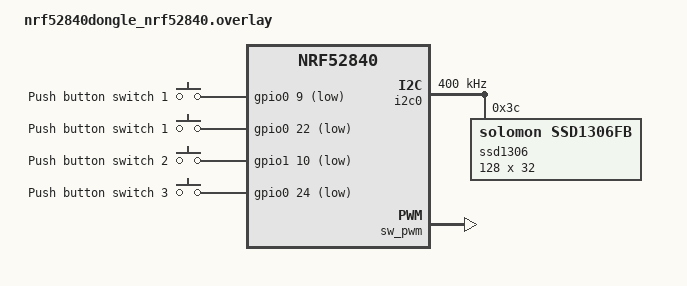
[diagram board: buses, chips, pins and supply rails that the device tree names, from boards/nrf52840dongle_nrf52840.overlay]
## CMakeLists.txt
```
#
# Copyright (c) 2018 Nordic Semiconductor
#
# SPDX-License-Identifier: LicenseRef-Nordic-5-Clause
#
cmake_minimum_required(VERSION 3.20.0)
find_package(Zephyr REQUIRED HINTS $ENV{ZEPHYR_BASE})
project(zephyr_ssd1306)

# NORDIC SDK APP START
target_sources(app PRIVATE
  src/main.c
  src/DCLK.c
  src/Interface.c
)

# NORDIC SDK APP END
zephyr_library_include_directories(.)
```

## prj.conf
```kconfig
#
# Copyright (c) 2018 Nordic Semiconductor
#
# SPDX-License-Identifier: LicenseRef-Nordic-5-Clause
#

#DISABLED

CONFIG_ADC=n
CONFIG_SPI=n
CONFIG_DEBUG=n

#DISPLAY




CONFIG_I2C=y
CONFIG_DISPLAY=y
CONFIG_SSD1306=y
CONFIG_SSD1306_DEFAULT=y
CONFIG_SSD1306_DEFAULT_CONTRAST=128
CONFIG_CHARACTER_FRAMEBUFFER=y
CONFIG_HEAP_MEM_POOL_SIZE=2048


#MEMORY
# CONFIG_SIZE_OPTIMIZATIONS=y
# CONFIG_BT_HCI=n

#CONFIG_MAIN_STACK_SIZE=1024
# CONFIG_ISR_STACK_SIZE=1024

#BLUETOOTH Reduction
# CONFIG_BT_PHY_UPDATE=n
# CONFIG_BT_GATT_SERVICE_CHANGED=n


# CONFIG_BT_RX_STACK_SIZE=1024
CONFIG_SYSTEM_WORKQUEUE_STACK_SIZE=2048
# CONFIG_BT_HCI_TX_STACK_SIZE=1024
# CONFIG_MPSL_WORK_STACK_SIZE=512



# Logger module
CONFIG_LOG=n

# BUTTONS and GPIO
CONFIG_GPIO=y

CONFIG_PWM=y
CONFIG_PWM_LOG_LEVEL_DBG=n


# Bluetooth LE
CONFIG_BT=y
CONFIG_BT_PERIPHERAL=y
CONFIG_BT_DEVICE_NAME="DCLK_Controller_1"

CONFIG_BT_SETTINGS_CCC_LAZY_LOADING=y
CONFIG_BT_CTLR_ADV_EXT=y
CONFIG_BT_EXT_ADV=y

CONFIG_BT_SMP=y
CONFIG_BT_SIGNING=y
CONFIG_BT_BONDABLE=y

#CONFIG_BT_FIXED_PASSKEY=y

#Enable access to flash
CONFIG_BT_SETTINGS=y
CONFIG_FLASH=y
CONFIG_FLASH_PAGE_LAYOUT=y
CONFIG_FLASH_MAP=y
CONFIG_NVS=y
CONFIG_SETTINGS=y

#Enable support for Accept List filter and Privacy Features
CONFIG_BT_FILTER_ACCEPT_LIST=y
CONFIG_BT_PRIVACY=y

# Increase the number of maximum paired devices
CONFIG_BT_MAX_PAIRED=5

#POWER
CONFIG_PM_DEVICE=y
CONFIG_CRC=y
CONFIG_POWEROFF=y
```

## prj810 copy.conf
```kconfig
#
# Copyright (c) 2018 Nordic Semiconductor
#
# SPDX-License-Identifier: LicenseRef-Nordic-5-Clause
#
CONFIG_CLOCK_CONTROL_NRF_K32SRC_RC=y
# Logger module
#CONFIG_LOG=n

# Button and LED library
#CONFIG_GPIO=y

# Bluetooth LE
#CONFIG_BT=y
#CONFIG_BT_PERIPHERAL=y
#CONFIG_BT_DEVICE_NAME="DCLK_Controller_1"

# CONFIG_BT_DEBUG_LOG=y
# CONFIG_BT_SMP=y
# CONFIG_BT_SIGNING=y
# CONFIG_BT_BONDABLE=y

#CONFIG_BT_FIXED_PASSKEY=y

#Enable access to flash
# CONFIG_BT_SETTINGS=y
# CONFIG_FLASH=y
# CONFIG_FLASH_PAGE_LAYOUT=y
# CONFIG_FLASH_MAP=y
# CONFIG_NVS=y
# CONFIG_SETTINGS=y

# #Enable support for Accept List filter and Privacy Features
# CONFIG_BT_FILTER_ACCEPT_LIST=y
# CONFIG_BT_PRIVACY=y

# # Increase the number of maximum paired devices
# CONFIG_BT_MAX_PAIRED=5


# # Increase stack size for the main thread and System Workqueue
# CONFIG_SYSTEM_WORKQUEUE_STACK_SIZE=2048
# CONFIG_MAIN_STACK_SIZE=2048
```

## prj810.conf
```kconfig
#
# Copyright (c) 2018 Nordic Semiconductor
#
# SPDX-License-Identifier: LicenseRef-Nordic-5-Clause
#

#CLOCK
CONFIG_CLOCK_CONTROL_NRF_K32SRC_RC=y


#DISABLED
CONFIG_I2C=n
CONFIG_ADC=n
CONFIG_SPI=y
CONFIG_DEBUG=n

#MEMORY
CONFIG_SIZE_OPTIMIZATIONS=y
CONFIG_BT_HCI=n

#CONFIG_MAIN_STACK_SIZE=1024
CONFIG_ISR_STACK_SIZE=1024

#BLUETOOTH Reduction
CONFIG_BT_PHY_UPDATE=n
CONFIG_BT_GATT_SERVICE_CHANGED=n


CONFIG_BT_RX_STACK_SIZE=1024
CONFIG_SYSTEM_WORKQUEUE_STACK_SIZE=1024
CONFIG_BT_HCI_TX_STACK_SIZE=1024
CONFIG_MPSL_WORK_STACK_SIZE=512



# Logger module
CONFIG_LOG=n

# Button and LED library
CONFIG_GPIO=y

# Bluetooth LE
CONFIG_BT=y
CONFIG_BT_PERIPHERAL=y
CONFIG_BT_DEVICE_NAME="DCLK_Controller_1"

CONFIG_BT_SETTINGS_CCC_LAZY_LOADING=y
CONFIG_BT_CTLR_ADV_EXT=y
CONFIG_BT_EXT_ADV=y

CONFIG_BT_SMP=y
CONFIG_BT_SIGNING=y
CONFIG_BT_BONDABLE=y

#CONFIG_BT_FIXED_PASSKEY=y

#Enable access to flash
CONFIG_BT_SETTINGS=y
#CONFIG_FLASH=y
#CONFIG_FLASH_PAGE_LAYOUT=y
#CONFIG_FLASH_MAP=y
CONFIG_NVS=y
CONFIG_SETTINGS=y

#Enable support for Accept List filter and Privacy Features
CONFIG_BT_FILTER_ACCEPT_LIST=y
CONFIG_BT_PRIVACY=y

# Increase the number of maximum paired devices
CONFIG_BT_MAX_PAIRED=2
```

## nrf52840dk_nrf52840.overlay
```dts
// To get started, press Ctrl+Space to bring up the completion menu and view the available nodes.

// You can also use the buttons in the sidebar to perform actions on nodes.
// Actions currently available include:

// * Enabling / disabling the node
// * Adding the bus to a bus
// * Removing the node
// * Connecting ADC channels

// For more help, browse the DeviceTree documentation at https: //docs.zephyrproject.org/latest/guides/dts/index.html
// You can also visit the nRF DeviceTree extension documentation at https: //nrfconnect.github.io/vscode-nrf-connect/devicetree/nrfdevicetree.html

&pinctrl {

	i2c0_default: i2c0_default {
		group1 {
			psels = <NRF_PSEL(TWIM_SDA, 0, 4)>,
					<NRF_PSEL(TWIM_SCL, 0, 3)>;
		};
	};

	i2c0_sleep: i2c0_sleep {
		group1 {
			psels = <NRF_PSEL(TWIM_SDA, 0, 4)>,
					<NRF_PSEL(TWIM_SCL, 0, 3)>;
			low-power-enable;
		};
	};
};


&i2c0 {
	compatible = "nordic,nrf-twim";
	status = "okay";
	clock-frequency = <I2C_BITRATE_FAST>;
	zephyr,concat-buf-size = <4096>;

	ssd1306: ssd1306@3c {
		compatible = "solomon,ssd1306fb";
		reg = <0x3c>; //0x3c is the i2c address of the SSD1306 aIC.
		width = <128>;
		height = <32>; // Change to '64' when using the 128x64 pixel version.
		segment-offset = <0>;
		page-offset = <0>;
		display-offset = <0>;
		multiplex-ratio = <31>; //change to '63' when using the 128x64 pixel version
		segment-remap;
		com-invdir;
		com-sequential;
		prechargep = <0x22>;
	};
};


&gpio0 {
	wakeup-source;
};

&pwm0 {
	status = "disabled";
};

&sw_pwm {
	status = "okay";
	channel-gpios = <&gpio0 2 PWM_POLARITY_INVERTED>;
};

&pwm_led0 {
	pwms = <&sw_pwm 0 PWM_MSEC(20) PWM_POLARITY_INVERTED>;
};
```

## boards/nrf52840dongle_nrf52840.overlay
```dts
/*
 * Copyright (c) 2021 Nordic Semiconductor ASA
 *
 * SPDX-License-Identifier: LicenseRef-Nordic-5-Clause
 */

 &pinctrl {

	i2c0_default: i2c0_default {
		group1 {
			psels = <NRF_PSEL(TWIM_SDA, 0, 29)>,
					<NRF_PSEL(TWIM_SCL, 0, 31)>;
		};
	};

	i2c0_sleep: i2c0_sleep {
		group1 {
			psels = <NRF_PSEL(TWIM_SDA, 0, 29)>,
					<NRF_PSEL(TWIM_SCL, 0, 31)>;
			low-power-enable;
		};
	};
};


&i2c0 {
	compatible = "nordic,nrf-twim";
	status = "okay";
	clock-frequency = <I2C_BITRATE_FAST>;
	zephyr,concat-buf-size = <4096>;

	ssd1306: ssd1306@3c {
		compatible = "solomon,ssd1306fb";
		reg = <0x3c>; //0x3c is the i2c address of the SSD1306 aIC.
		width = <128>;
		height = <32>; // Change to '64' when using the 128x64 pixel version.
		segment-offset = <0>;
		page-offset = <0>;
		display-offset = <0>;
		multiplex-ratio = <31>; //change to '63' when using the 128x64 pixel version
		segment-remap;
		com-invdir;
		com-sequential;
		prechargep = <0x22>;
	};
};

// &gpio0 {
// 	wakeup-source;
// };
&uart0 {
	status = "disabled";
};



/{
	buttons {
		compatible = "gpio-keys";
		button0: button_0 {
			gpios = <&gpio0 9 (GPIO_PULL_UP | GPIO_ACTIVE_LOW)>;
			label = "Push button switch 1";
		};

		button1: button_1 {
			gpios = <&gpio0 22 (GPIO_PULL_UP | GPIO_ACTIVE_LOW)>;
			label = "Push button switch 1";
		};
		button2: button_2 {
			gpios = <&gpio1 10 (GPIO_PULL_UP | GPIO_ACTIVE_LOW)>;
			label = "Push button switch 2";
		};
		button3: button_3 {
			gpios = <&gpio0 24 (GPIO_PULL_UP | GPIO_ACTIVE_LOW)>;
			label = "Push button switch 3";
		};
	};
};



&pwm0 {
	status = "disabled";
};

&sw_pwm {
	status = "okay";
	channel-gpios = <&gpio1 13 PWM_POLARITY_NORMAL>;
};

&red_pwm_led {
	pwms = <&sw_pwm 0 PWM_MSEC(20) PWM_POLARITY_NORMAL>;
};
```

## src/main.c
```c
/*
 * Copyright (c) 2023 Nordic Semiconductor ASA
 *
 * SPDX-License-Identifier: LicenseRef-Nordic-5-Clause
 */

#include <zephyr/kernel.h>
#include <zephyr/logging/log.h>
#include <zephyr/bluetooth/bluetooth.h>
#include <zephyr/bluetooth/gap.h>
#include <zephyr/bluetooth/uuid.h>
#include <zephyr/bluetooth/conn.h>

#include <zephyr/drivers/gpio.h>

#include <zephyr/device.h>
#include <zephyr/devicetree.h>

#include <zephyr/settings/settings.h>

//#include <zephyr/sys/poweroff.h>
#include <zephyr/sys/util.h>

#include "DCLK.h"
#include "Interface.h"

#include <soc.h>
#include <hal/nrf_gpio.h>

LOG_MODULE_REGISTER(Controller_app, LOG_LEVEL_INF);

#define STACKSIZE 512
#define PRIORITY 7

#define GO_SLEEP_SHORT 10000
#define GO_SLEEP_LONG 30000
#define CLOCK_RESET_VALUE 10000

#define SYNC_INTERVAL 500

static void poweroff(void);
K_TIMER_DEFINE(sleep_timer, poweroff, NULL);
/*


*/
/*SHOT CLOCK*/
struct k_timer d_timer;
static uint8_t clock_state = 0; // shot clock state
static uint32_t clock_value = 0;

// Helper QUEUES

/*


*/

/*DCLK CALLBACKS*/
static uint32_t DCLK_clock_cb(void)
{
	// d_clock = k_timer_remaining_get(&d_timer);
	return k_timer_remaining_get(&d_timer);
	;
}

static uint8_t DCKL_state_cb(void)
{
	return clock_state;
}

static struct dclk_cb DCLK_callbacks = {
	.clock_cb = DCLK_clock_cb,
	.state_cb = DCKL_state_cb,
};

/*


*/
/*Button Callbacks*/
static uint8_t pair_cb(uint8_t evt)
{
	if (1 == evt)
	{
		LOG_INF("pairing : %d", evt);
		dclk_pairing(true);
	}
	else if (0 == evt)
	{
		LOG_INF("stop pairing : %d", evt);
		dclk_pairing(false);
	}
	k_timer_stop(&sleep_timer);

	return 0;
}
static uint8_t user_cb(uint8_t evt)
{
	LOG_INF("user : %d", evt);
	return 0;
}

static uint8_t start_cb(uint8_t evt)
{
	LOG_INF("start : %d", evt);

	if (1 == evt)
	{
		clock_state = 0;

		k_timer_start(&d_timer, K_MSEC(CLOCK_RESET_VALUE), K_NO_WAIT);
	}

	k_timer_stop(&sleep_timer);

	return 0;
}

static uint8_t stop_cb(uint8_t evt)
{
	LOG_INF("stop : %d", clock_value);
	if (1 == evt)
	{
		clock_value = k_timer_remaining_get(&d_timer);
		k_timer_stop(&d_timer);
		clock_state = 1;
	}

	return 0;
}

static struct interface_cb interface_callbacks =
	{
		.pair = pair_cb,
		.user = user_cb,
		.start = start_cb,
		.stop = stop_cb,
};

static void d_clock_expire(struct k_timer *timer_id)
{
	clock_state = 2;
	k_timer_start(&sleep_timer, K_MSEC(GO_SLEEP_SHORT), K_NO_WAIT);

}

/** @brief Runs the shot clock, notifies DCLK, and updates display */
void dclk_app(void)
{

	uint32_t d_clock = 0;
	uint8_t d_state = 0;
	dclk_info conn_status;
	char dis_status;

	k_timer_init(&d_timer, d_clock_expire, NULL);

	while (1)
	{

		d_state = clock_state;

		if (1 != d_state)
		{
			d_clock = ROUND_UP(k_timer_remaining_get(&d_timer), 1000) / 1000;
		}
		else
		{
			d_clock = ROUND_UP(clock_value, 1000) / 1000;
		}
		dclk_get_status(&conn_status);

		if (conn_status.pair_en)
		{
			dis_status = 'P';
		}
		else
		{
			sprintf(&dis_status, "%d", conn_status.num_conn);
		}

		dclk_send_clock_notify(&d_clock);
		dclk_send_state_notify(&d_state);

		interface_update(&d_clock, &d_state, &dis_status);

		k_sleep(K_MSEC(SYNC_INTERVAL));
	}
	return;
}

void power_manage_init(void)
{
	nrf_gpio_cfg_input(NRF_DT_GPIOS_TO_PSEL(DT_NODELABEL(button2), gpios),
					   NRF_GPIO_PIN_PULLUP);
	nrf_gpio_cfg_sense_set(NRF_DT_GPIOS_TO_PSEL(DT_NODELABEL(button2), gpios),
						   NRF_GPIO_PIN_SENSE_LOW);
}
int main(void)
{
	int err;

	LOG_INF("Starting DCLK Controller \n");

	err = interface_init(&interface_callbacks);
	if (err)
	{
		LOG_ERR("Interface init failed (err %d)\n", err);
		return 0;
	}

	err = dclk_init(&DCLK_callbacks);
	if (err)
	{
		LOG_ERR("Failed to init LBS (err:%d)\n", err);
		return 0;
	}

	LOG_INF("Initialized \n");

	power_manage_init();
	k_timer_start(&sleep_timer,K_MSEC(GO_SLEEP_LONG),K_NO_WAIT);

	while (1)
	{
		k_sleep(K_FOREVER);
	}
	return 1;
}

// Start app thread
K_THREAD_DEFINE(app, 1024, dclk_app, NULL, NULL, NULL, 5, 0, 0);

void poweroff(void)
{
	LOG_INF("SLEEP TIMER EXPIRED");
	// k_thread_suspend(&app);
	LOG_INF("POWER OFF");
	interface_off();

	//sys_poweroff();
}
```

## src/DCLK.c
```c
/*Matthew Ebert
 *02-JAN-2024
 *
 */

/** @file DCLK.c
 *  @brief DCLK host Bluetooth Service
 */

#include <zephyr/types.h>
#include <stddef.h>
#include <string.h>
#include <errno.h>

#include <zephyr/sys/byteorder.h>
//#include <zephyr/kernel.h>

#include <zephyr/bluetooth/bluetooth.h>
//#include <zephyr/bluetooth/hci.h>
#include <zephyr/bluetooth/conn.h>
#include <zephyr/bluetooth/uuid.h>
#include <zephyr/bluetooth/gatt.h>
#include <zephyr/settings/settings.h>

#include "DCLK.h"

#define DLCK_LOG 1

#ifdef DLCK_LOG
#include <zephyr/sys/printk.h>
#include <zephyr/logging/log.h>
LOG_MODULE_DECLARE(Controller_app, LOG_LEVEL_ERR);
#endif

static bool notify_state_enabled;
static bool notify_clock_enabled;
static uint8_t state;
static uint32_t clock;
static struct dclk_cb dclk_cb;

static unsigned int passkey;

#define DEVICE_NAME CONFIG_BT_DEVICE_NAME
#define DEVICE_NAME_LEN (sizeof(DEVICE_NAME) - 1)

//| BT_LE_ADV_OPT_ONE_TIME,
#define BT_LE_ADV_CONN_NO_ACCEPT_LIST          \
	BT_LE_ADV_PARAM(BT_LE_ADV_OPT_CONNECTABLE, \
					BT_GAP_ADV_FAST_INT_MIN_2, BT_GAP_ADV_FAST_INT_MAX_2, NULL)

#define BT_LE_ADV_CONN_ACCEPT_LIST                                         \
	BT_LE_ADV_PARAM(BT_LE_ADV_OPT_CONNECTABLE | BT_LE_ADV_OPT_FILTER_CONN, \
					BT_GAP_ADV_FAST_INT_MIN_2, BT_GAP_ADV_FAST_INT_MAX_2, NULL)

static const struct bt_data ad[] = {
	BT_DATA_BYTES(BT_DATA_FLAGS, (BT_LE_AD_GENERAL | BT_LE_AD_NO_BREDR)),
	BT_DATA(BT_DATA_NAME_COMPLETE, DEVICE_NAME, DEVICE_NAME_LEN),

};

static const struct bt_data sd[] = {
	BT_DATA_BYTES(BT_DATA_UUID128_ALL, BT_UUID_DCLK_VAL),
};

static void setup_accept_list_cb(const struct bt_bond_info *info, void *user_data)
{
	int *bond_cnt = user_data;

	if ((*bond_cnt) < 0)
	{
		return;
	}

	int err = bt_le_filter_accept_list_add(&info->addr);
	LOG_INF("Added following peer to accept list: %x %x\n", info->addr.a.val[0],
			info->addr.a.val[1]);
	if (err)
	{
		LOG_ERR("Cannot add peer to filter accept list (err: %d)\n", err);
		(*bond_cnt) = -EIO;
	}
	else
	{
		(*bond_cnt)++;
	}
}

static int setup_accept_list(uint8_t local_id)
{
	int err = bt_le_filter_accept_list_clear();

	if (err)
	{
		LOG_INF("Cannot clear BLE accept list (err: %d)\n", err);
		return err;
	}

	int bond_cnt = 0;

	bt_foreach_bond(local_id, setup_accept_list_cb, &bond_cnt);

	return bond_cnt;
}

void pair_DCLK(struct k_work *work)
{
	LOG_INF("Pairing Beginning--");
	int err = 0;

	bt_le_adv_stop();

	err = bt_unpair(BT_ID_DEFAULT, BT_ADDR_LE_ANY);
	if (err)
	{
		LOG_INF("Cannot delete bond (err: %d)\n", err);
	}
	else
	{
		LOG_INF("Bond deleted succesfully \n");
	}

	LOG_INF("Advertising with no Accept list \n");
	// One shot advertizing due to bt_adv_param settings
	// stops upon connection
	err = bt_le_adv_start(BT_LE_ADV_CONN_NO_ACCEPT_LIST, ad, ARRAY_SIZE(ad), sd,
						  ARRAY_SIZE(sd));

	if (err)
	{
		LOG_INF("Advertising failed to start (err %d)\n", err);
		return;
	}
}

void advertise_DCLK(struct k_work *work)
{
	int err = 0;
	int allowed_cnt = setup_accept_list(BT_ID_DEFAULT);
	LOG_DBG("bond_count = %d", allowed_cnt);
	if (allowed_cnt < 0)
	{
		LOG_INF("Acceptlist setup failed (err:%d)\n", allowed_cnt);
	}
	else if (allowed_cnt > 0)
	{
		LOG_INF("Acceptlist setup number  = %d \n", allowed_cnt);
		// One shot advertizing due to bt_adv_param settings
		// stops upon connection
		err = bt_le_adv_start(BT_LE_ADV_CONN_ACCEPT_LIST, ad, ARRAY_SIZE(ad), sd,
							  ARRAY_SIZE(sd));

		if (err)
		{
			LOG_INF("Advertising failed to start (err %d)\n", err);
			return;
		}
		LOG_INF("Advertising successfully started\n");
		return;
	}

	LOG_INF("No Bonds -- Please start pairing");
	return;
}

//K_WORK_DEFINE(advertise_DCLK_work, advertise_DCLK);
// K_WORK_DEFINE(pair_DCLK_work, pair_DCLK);

void start_advertising(void)
{
	// k_work_submit(&advertise_DCLK_work);
	advertise_DCLK(NULL);
}

void start_pairing(void)
{
	pair_DCLK(NULL);
	// k_work_submit(&pair_DCLK_work);
}

/*CONNECTION*/

static void on_connected(struct bt_conn *conn, uint8_t err)
{
	if (err)
	{
		LOG_INF("Connection failed (err %u)\n", err);
		start_advertising();
		return;
	}

	LOG_INF("Connected\n");

	// bt_conn_set_security(conn, BT_SECURITY_L4);
}

static void on_disconnected(struct bt_conn *conn, uint8_t reason)
{
	LOG_INF("Disconnected (reason %u)\n", reason);

	// advertize to try and reconnect
	start_advertising();
}

static void on_security_changed(struct bt_conn *conn, bt_security_t level, enum bt_security_err err)
{
	char addr[BT_ADDR_LE_STR_LEN];

	bt_addr_le_to_str(bt_conn_get_dst(conn), addr, sizeof(addr));

	if (!err)
	{
		LOG_INF("Security changed: %s level %u\n", addr, level);
	}
	else
	{
		LOG_INF("Security failed: %s level %u err %d\n", addr, level, err);
	}
}

struct bt_conn_cb connection_callbacks = {
	.connected = on_connected,
	.disconnected = on_disconnected,
	.security_changed = on_security_changed,
};
/*



*/
/*NOTIFICATION AND STATE*/
/* state configuration change callback function */
static void dclk_ccc_state_cfg_changed(const struct bt_gatt_attr *attr, uint16_t value)
{
	notify_state_enabled = (value == BT_GATT_CCC_NOTIFY);
}

/* clock configuration change callback function */
static void dclk_ccc_clock_cfg_changed(const struct bt_gatt_attr *attr, uint16_t value)
{
	notify_clock_enabled = (value == BT_GATT_CCC_NOTIFY);
}

static ssize_t read_state(struct bt_conn *conn, const struct bt_gatt_attr *attr, void *buf,
						  uint16_t len, uint16_t offset)
{
	// get a pointer to state which is passed in the BT_GATT_CHARACTERISTIC() and stored in attr->user_data
	const char *value = attr->user_data;

	LOG_DBG("Attribute read, handle: %u, conn: %p", attr->handle, (void *)conn);

	if (dclk_cb.state_cb)
	{
		// Call the application callback function to update the get the current value of the button
		state = dclk_cb.state_cb();
		return bt_gatt_attr_read(conn, attr, buf, len, offset, value, sizeof(*value));
	}

	return 0;
}

static ssize_t read_clock(struct bt_conn *conn, const struct bt_gatt_attr *attr, void *buf,
						  uint16_t len, uint16_t offset)
{
	// get a pointer to state which is passed in the BT_GATT_CHARACTERISTIC() and stored in attr->user_data
	const char *value = attr->user_data;

	LOG_DBG("Attribute read, handle: %u, conn: %p", attr->handle, (void *)conn);

	if (dclk_cb.clock_cb)
	{
		// Call the application callback function to update the get the current value of the button
		clock = dclk_cb.clock_cb();
		return bt_gatt_attr_read(conn, attr, buf, len, offset, value, sizeof(*value));
	}

	return 0;
}
/*



*/
/*AUTHENTICATION*/

static void auth_pairing(struct bt_conn *conn)
{
	char addr[BT_ADDR_LE_STR_LEN];
	bt_addr_le_to_str(bt_conn_get_dst(conn), addr, sizeof(addr));
	int err = bt_conn_auth_pairing_confirm(conn);
	LOG_INF("Pairing Authorized %d: %s\n", err, addr);
}

static void auth_cancel(struct bt_conn *conn)
{
	char addr[BT_ADDR_LE_STR_LEN];

	bt_addr_le_to_str(bt_conn_get_dst(conn), addr, sizeof(addr));

	LOG_INF("Pairing cancelled: %s\n", addr);
}

static void passkey_entry(struct bt_conn *conn)
{
	LOG_INF("Sending entry passkey = %d", passkey);
	bt_conn_auth_passkey_entry(conn, passkey);
}

void passkey_display(struct bt_conn *conn, unsigned int passkey)
{
	LOG_INF("Controller passkey = %d", passkey);
}

void passkey_confirm(struct bt_conn *conn, unsigned int passkey)
{
	LOG_INF("Confirm Passkey = %d", passkey);
	bt_conn_auth_passkey_confirm(conn);
}
static struct bt_conn_auth_cb auth_cb_display = {
	.passkey_display = passkey_display,
	.passkey_confirm = passkey_confirm,
	.passkey_entry = passkey_entry,
	.cancel = auth_cancel,
	.pairing_confirm = auth_pairing,
};

/*


*/
/*PAIRING*/
#ifdef DCLK_INFO
static void pairing_complete(struct bt_conn *conn, bool bonded)
{
	char addr[BT_ADDR_LE_STR_LEN];

	bt_addr_le_to_str(bt_conn_get_dst(conn), addr, sizeof(addr));

	LOG_INF("Pairing completed: %s, bonded: %d", addr, bonded);
}

static void pairing_failed(struct bt_conn *conn, enum bt_security_err reason)
{
	char addr[BT_ADDR_LE_STR_LEN];

	bt_addr_le_to_str(bt_conn_get_dst(conn), addr, sizeof(addr));

	LOG_WRN("Pairing failed conn: %s, reason %d", addr, reason);
}

static struct bt_conn_auth_info_cb conn_auth_info_callbacks = {
	.pairing_complete = pairing_complete,
	.pairing_failed = pairing_failed,
};
#endif
/*



*/
/* DCLK Service Declaration */
BT_GATT_SERVICE_DEFINE(
	dclk_svc, BT_GATT_PRIMARY_SERVICE(BT_UUID_DCLK),
	/*Button characteristic declaration */
	BT_GATT_CHARACTERISTIC(BT_UUID_DCLK_STATE, BT_GATT_CHRC_READ | BT_GATT_CHRC_NOTIFY,
						   BT_GATT_PERM_READ_AUTHEN, read_state, NULL, &state),
	/* Client Characteristic Configuration Descriptor */
	BT_GATT_CCC(dclk_ccc_state_cfg_changed, BT_GATT_PERM_READ_AUTHEN | BT_GATT_PERM_WRITE_AUTHEN),

	BT_GATT_CHARACTERISTIC(BT_UUID_DCLK_CLOCK, BT_GATT_CHRC_READ | BT_GATT_CHRC_NOTIFY,
						   BT_GATT_PERM_READ_AUTHEN, read_clock, NULL, &clock),

	BT_GATT_CCC(dclk_ccc_clock_cfg_changed, BT_GATT_PERM_READ_AUTHEN | BT_GATT_PERM_WRITE_AUTHEN),

);

/*


*/

/*API*/
int dclk_init(struct dclk_cb *callbacks)
{
	int err;

	bt_conn_cb_register(&connection_callbacks);
	if (callbacks)
	{
		dclk_cb.clock_cb = callbacks->clock_cb;
		dclk_cb.state_cb = callbacks->state_cb;
	}
	err = bt_enable(NULL);
	if (err)
	{
		LOG_ERR("Bluetooth enable failed (err %d)\n", err);
		return err;
	}

	err = bt_conn_auth_cb_register(&auth_cb_display);
	if (err)
	{
		LOG_ERR("Bluetooth authetication register failed (err %d)\n", err);
		return err;
	}
#ifdef DCLK_INFO
	err = bt_conn_auth_info_cb_register(&conn_auth_info_callbacks);
	if (err)
	{
		LOG_INF("Bluetooth info register failed (err %d)\n", err);
		return 0;
	}
#endif

	if (IS_ENABLED(CONFIG_SETTINGS))
	{
		err = settings_load();
		if (err)
		{
			LOG_ERR("Bluetooth load settings failed (err %d)\n", err);
			return err;
		}
		LOG_INF("BLE settings loaded \n");
	}

	// err = bt_le_adv_start(BT_LE_ADV_CONN, ad, ARRAY_SIZE(ad), sd,
	// 					  ARRAY_SIZE(sd));

	// if (err)
	// {
	// 	err = -1;
	// }
	start_advertising();
	

	return 0;
}

int dclk_pairing(void)
{
	start_pairing();
	return 0;
}

int dclk_send_state_notify(uint8_t *state)
{
	if (!notify_state_enabled)
	{
		return -EACCES;
	}

	return bt_gatt_notify(NULL, &dclk_svc.attrs[2], state, sizeof(state));
}

int dclk_send_clock_notify(uint32_t *clock)
{
	if (!notify_clock_enabled)
	{
		return -EACCES;
	}
	return bt_gatt_notify(NULL, &dclk_svc.attrs[5], clock, sizeof(clock));
}
```

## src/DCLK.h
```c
/*
 * Matthew Ebert
 *
 * 02-JAN-2024
 * 
 */

#ifndef BT_DCLK
#define BT_DCLK

/**@file
 * @defgroup DCLK.h DCLK service API
 * @{
 * @brief API for the DCLK BLE service
 */

#ifdef __cplusplus
extern "C"
{
#endif

#include <zephyr/types.h>

/** @brief DCLK Service UUID. */
#define BT_UUID_DCLK_VAL BT_UUID_128_ENCODE(0x00001553, 0x1212, 0xefde, 0x1523, 0x785feabcd123)

/** @brief State Characteristic UUID. */
#define BT_UUID_DCLK_STATE_VAL \
	BT_UUID_128_ENCODE(0x00001554, 0x1212, 0xefde, 0x1523, 0x785feabcd123)

/** @brief LED Characteristic UUID. */
#define BT_UUID_DCLK_LED_VAL BT_UUID_128_ENCODE(0x00001555, 0x1212, 0xefde, 0x1523, 0x785feabcd123)

/* STEP 11.1 - Assign a UUID to the MYSENSOR characteristic */
/** @brief Clock Characteristic UUID. */
#define BT_UUID_DCLK_CLOCK_VAL \
	BT_UUID_128_ENCODE(0x00001556, 0x1212, 0xefde, 0x1523, 0x785feabcd123)

#define BT_UUID_DCLK BT_UUID_DECLARE_128(BT_UUID_DCLK_VAL)
#define BT_UUID_DCLK_STATE BT_UUID_DECLARE_128(BT_UUID_DCLK_STATE_VAL)
#define BT_UUID_DCLK_LED BT_UUID_DECLARE_128(BT_UUID_DCLK_LED_VAL)
#define BT_UUID_DCLK_CLOCK BT_UUID_DECLARE_128(BT_UUID_DCLK_CLOCK_VAL)

	/** @brief Callback type for when an clock is read. */
	typedef uint32_t (*clock_cb_t)(void);

	/** @brief Callback type for when state is read. */
	typedef uint8_t (*state_cb_t)(void);

	/** @brief Callback struct used by DCLK Service. */
	struct dclk_cb
	{
		/** clock read callback. */
		clock_cb_t clock_cb;
		/** state read callback. */
		state_cb_t state_cb;
	};

	/** @brief Initialize the DCLK Service.
	 *
	 * This function registers application callback functions with the DCLK
	 * Service
	 *
	 * @param[in] callbacks Struct containing pointers to callback functions
	 *			used by the service. This pointer can be NULL
	 *			if no callback functions are defined.
	 *
	 *
	 * @retval 0 If the operation was successful.
	 *           Otherwise, a (negative) error code is returned.
	 */
	int dclk_init(struct dclk_cb *callbacks);

	/** @brief Enables/Disables advertizing and
	 * pairing of DCLK blueooth service
	 *
	 * This starts or stops advertizing immediately and
	 * sets the pairing state to enable
	 *
	 * @param[in] void 
	 *
	 * @retval 0 If the operation was successful.
	 *           Otherwise, a (negative) error code is returned.
	 */
	int dclk_pairing(void);

	/** @brief Send the clock state as notification.
	 *
	 * This function sends a uint8_t state. The state can be
	 * 0 - running
	 * 1 - paused
	 * 2 - stopped
	 *
	 * @param[in] state The state of the clock
	 *
	 * @retval 0 If the operation was successful.
	 *           Otherwise, a (negative) error code is returned.
	 */
	int dclk_send_state_notify(uint8_t *state);

	/** @brief Send the clock value as notification.
	 *
	 * This function sends an uint32_t  value indicating the
	 * time remaining on the shot clock
	 *
	 * @param[in] clock The value of the shot clock in ms
	 *
	 * @retval 0 If the operation was successful.
	 *           Otherwise, a (negative) error code is returned.
	 */
	int dclk_send_clock_notify(uint32_t *clock);

#ifdef __cplusplus
}
#endif

/**
 * @}
 */

#endif /* BT_LBS_H_ */
```

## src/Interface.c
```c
#include <zephyr/kernel.h>
#include <zephyr/logging/log.h>
#include <zephyr/bluetooth/bluetooth.h>
#include <zephyr/bluetooth/gap.h>
#include <zephyr/bluetooth/uuid.h>
#include <zephyr/bluetooth/conn.h>

#include <zephyr/drivers/gpio.h>

#include <zephyr/device.h>
#include <zephyr/devicetree.h>
#include <zephyr/settings/settings.h>

#include "Interface.h"

#include <stdint.h>
#include <zephyr/drivers/display.h>
#include <zephyr/display/cfb.h>

#include <zephyr/sys/printk.h>
#include <zephyr/logging/log.h>
#include <zephyr/drivers/pwm.h>

#include <stdio.h>
#include <stdlib.h>

LOG_MODULE_DECLARE(Controller_app, LOG_LEVEL_ERR);

#define DISPLAY_BUFFER_PITCH 128
static const struct device *display = DEVICE_DT_GET(DT_NODELABEL(ssd1306));

#define SW0_NODE DT_NODELABEL(button0)
#define SW1_NODE DT_NODELABEL(button1)
#define SW2_NODE DT_NODELABEL(button2)
#define SW3_NODE DT_NODELABEL(button3)

// PWM

#define MIN_PERIOD PWM_MSEC(2U) / 128U
#define MAX_PERIOD PWM_MSEC(2U)

static const struct pwm_dt_spec pwm_buzz = PWM_DT_SPEC_GET(DT_ALIAS(pwm_led0));

/*


*/
/* Button Event Handler */

void handle_button_event(struct k_work *work)
{
	LOG_DBG("handle_button_event");
	struct button_t *btn = CONTAINER_OF(work, struct button_t, btn_work);
	if (0 == btn->val)
	{
		btn->evt = 0;
	}
	else
	{
		btn->evt = 1;
	}

	btn->active_func_cb(btn->evt);
}

/*


*/
/*Callback Buttons*/

static void button_event_cb(const struct device *dev, struct gpio_callback *cb, uint32_t pins)
{
	LOG_DBG("button_event_cb");
	struct button_t *btn = CONTAINER_OF(cb, struct button_t, gpio_cb_data);
	btn->val = gpio_pin_get(btn->gpio_spec.port, btn->gpio_spec.pin);
	LOG_INF("Pin %d = %d", btn->gpio_spec.pin, btn->val);

	k_work_submit(&btn->btn_work);
}

static void pair_btn_cb(const struct device *dev, struct gpio_callback *cb, uint32_t pins)
{
}
static void user_btn_cb(const struct device *dev, struct gpio_callback *cb, uint32_t pins)
{
}
static void start_btn_cb(const struct device *dev, struct gpio_callback *cb, uint32_t pins)
{
}
static void stop_btn_cb(const struct device *dev, struct gpio_callback *cb, uint32_t pins)
{
}

/*Button Declarations*/

static struct button_t pair_btn =
	{
		.val = 1,
		.evt = 0,
		.gpio_spec = GPIO_DT_SPEC_GET(SW0_NODE, gpios),
		.gpio_cb_handler = button_event_cb,
		.gpio_flags = GPIO_ACTIVE_LOW,

		.btn_work_handler = handle_button_event,
};
static struct button_t user_btn =
	{
		.val = 2,
		.evt = 0,
		.gpio_spec = GPIO_DT_SPEC_GET(SW1_NODE, gpios),
		.gpio_cb_handler = button_event_cb,
		.gpio_flags = GPIO_INT_EDGE_BOTH,
		.btn_work_handler = handle_button_event,

};
static struct button_t start_btn =
	{
		.val = 3,
		.evt = 0,
		.gpio_spec = GPIO_DT_SPEC_GET(SW2_NODE, gpios),
		.gpio_cb_handler = button_event_cb,
		.gpio_flags = GPIO_INT_EDGE_BOTH,

		.btn_work_handler = handle_button_event,
};
static struct button_t stop_btn =
	{
		.val = 4,
		.evt = 0,
		.gpio_spec = GPIO_DT_SPEC_GET(SW3_NODE, gpios),
		.gpio_cb_handler = button_event_cb,
		.gpio_flags = GPIO_INT_EDGE_BOTH,

		.btn_work_handler = handle_button_event,
};

/*


*/
/*Initialize*/

int setup_button(struct button_t *button, active_func user_cb)
{

	/*GPIO*/
	int err = !device_is_ready(button->gpio_spec.port);

	gpio_pin_configure_dt(&button->gpio_spec, GPIO_INPUT | GPIO_PULL_UP);

	/*Interrupt*/

	gpio_pin_interrupt_configure_dt(&button->gpio_spec, button->gpio_flags);

	gpio_init_callback(&button->gpio_cb_data, button->gpio_cb_handler, BIT(button->gpio_spec.pin));

	err = abs(gpio_add_callback(button->gpio_spec.port, &button->gpio_cb_data));

	/* WORK */

	k_work_init(&button->btn_work, handle_button_event);

	button->active_func_cb = user_cb;

	return err;
}

int buzzer_init()
{

	// if (!pwm_is_ready_dt(&pwm_buzz))
	// {
	// 	LOG_ERR("Error: PWM device %s is not ready\n",
	// 			pwm_buzz.dev->name);
	// 	return 0;
	// }

	return 0;
}

int display_init()
{
	int err = cfb_framebuffer_init(display);
	if (err)
	{
		return err;
	}
	err = cfb_framebuffer_set_font(display, 1);
	if (err)
	{
		return err;
	}
	err = cfb_print(display, "DCLK Start", 0, 0);
	if (err)
	{
		return err;
	}
	err = cfb_framebuffer_invert(display);
	if (err)
	{
		return err;
	}
	err = cfb_framebuffer_finalize(display);
	if (err)
	{
		return err;
	}
	err = cfb_framebuffer_clear(display, true);

	return err;
}

int interface_init(struct interface_cb *app_cb)
{
	int err;

	err = setup_button(&pair_btn, app_cb->pair);
	err = setup_button(&user_btn, app_cb->user);
	err = setup_button(&start_btn, app_cb->start);
	err = setup_button(&stop_btn, app_cb->stop);

	if (err)
	{
		LOG_ERR("Failed to setup buttons");
		return err;
	}

	err = display_init();
	if (err)
	{
		LOG_ERR("Failed to setup display");
		return !err;
	}

	err = buzzer_init();
	if (err)
	{
		LOG_ERR("Failed to setup buzzer");
		return !err;
	}

	return 0;
}

static void stop_buzz(struct k_timer *timer_id)
{
	pwm_set_dt(&pwm_buzz, 0, 0);
}

K_TIMER_DEFINE(buzz_timer, stop_buzz, NULL);

void buzz()
{
	pwm_set_dt(&pwm_buzz, MAX_PERIOD, MAX_PERIOD / 2U);
	k_timer_start(&buzz_timer, K_MSEC(500), K_NO_WAIT);
}

static uint32_t dis_clock = 0;
static uint8_t dis_state = 2;
static char dis_conn_status = 0;

int interface_off(void)
{

	int err = cfb_print(display, "OFF", 0, 0);
}


int interface_update(uint32_t *clock, uint8_t *state, char *conn_status)
{
	
	int err = 0;
	bool ref = (dis_clock == *clock) && (dis_state == *state) && (dis_conn_status == *conn_status);
	if (!ref)
	{
		dis_clock = *clock;
		dis_state = *state;
		dis_conn_status = *conn_status;
		char str[15];
		if (10 == dis_clock)
		{
			sprintf(str, "T:- S%d %c", dis_state, dis_conn_status);
		}
		else
		{
			sprintf(str, "T:%d S%d %c", dis_clock, dis_state, dis_conn_status);
		}


		

		int err = cfb_print(display, str, 0, 0);
		if (err)
		{
			LOG_ERR("Failed to print display");
			return err;
		}
		err = cfb_framebuffer_finalize(display);
		if (err)
		{
			LOG_ERR("Failed to write display");
			return err;
		}
		if (dis_clock < 3)
		{
			buzz();
		}
	}
	else
	{
		err = -1;
		//LOG_INF("Update not required");
	}

	return err;
}
```

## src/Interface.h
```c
#ifndef DCLK_INTERFACE
#define DCLK_INTERFACE

/**
 * @file Interface.h
 * @defgroup DCLK_refController
 * @{
 * @brief API for handling button inputs and display outputs
 */

#ifdef __cplusplus
extern "C"
{
#endif

#include <zephyr/types.h>
#include <zephyr/drivers/gpio.h>

#include <zephyr/device.h>
#include <zephyr/devicetree.h>
#include <zephyr/settings/settings.h>

	/** @brief
	 *
	 * @param evt the button event which just occurred
	 * 0 release (falling edge)
	 * 1 push (rising edge)
	 * 2 hold (sustained push)
	 */
	typedef uint8_t (*active_func)(uint8_t evt);

	typedef struct button_t
	{
		uint8_t val;
		uint8_t evt;
		uint16_t debounce;
		uint8_t type;

		const struct gpio_dt_spec gpio_spec;
		struct gpio_callback gpio_cb_data;
		gpio_flags_t gpio_flags;
		gpio_callback_handler_t gpio_cb_handler;

		struct k_work btn_work;
		k_work_handler_t btn_work_handler;

		active_func active_func_cb;
	} btn_t;

	typedef struct interface_cb
	{
		active_func pair;
		active_func user;
		active_func start;
		active_func stop;

	} interface_cb;

	/** @brief Initialize the Interface
	 *
	 * This function registers application callback functions with the My LBS
	 * Service
	 *
	 * @param[in] app_cb Struct containing pointers to callback functions
	 *			used for each button on event. This pointer can be NULL
	 *			if no callback functions are defined.
	 *
	 *
	 * @retval 0 If the operation was successful.
	 *           Otherwise, a (negative) error code is returned.
	 */
	int interface_init(struct interface_cb *app_cb);

	/** @brief Send data to be written to SPI display
	 *
	 * This function sends a string to the SPI buffer to be
	 * written to the display
	 *
	 * @param[in] data void pointer to string data. a null value will clear display
	 *
	 * @retval 0 If the operation was successful.
	 *           Otherwise, a (negative) error code is returned.
	 */
	int interface_update(uint32_t *clock, uint8_t *state, char *conn_status);

#ifdef __cplusplus
}
#endif

/**
 * @}
 */

#endif /* BT_LBS_H_ */
```

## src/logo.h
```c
uint8_t buf[1024] = {
0x00, 0x00, 0x00, 0x00, 0x00, 0x00, 0x00, 0x00, 0x00, 0x00, 0x00, 0x00, 0x00, 0x00, 0x00, 0x00, 
0x00, 0x00, 0x00, 0x00, 0x00, 0x00, 0x00, 0x00, 0x00, 0x00, 0x00, 0x00, 0x00, 0x00, 0x00, 0x00, 
0x00, 0x00, 0x00, 0x00, 0x00, 0x00, 0x00, 0x00, 0x00, 0x00, 0x00, 0x00, 0x00, 0x00, 0x00, 0x00, 
0x00, 0x00, 0x00, 0x00, 0x00, 0x00, 0x00, 0x00, 0x00, 0x00, 0x00, 0x80, 0x80, 0x80, 0x80, 0x00, 
0x00, 0x80, 0x80, 0x80, 0x80, 0x00, 0x00, 0x00, 0x00, 0x00, 0x00, 0x00, 0x00, 0x00, 0x00, 0x00, 
0x00, 0x00, 0x00, 0x00, 0x00, 0x00, 0x00, 0x00, 0x00, 0x00, 0x00, 0x00, 0x00, 0x00, 0x00, 0x00, 
0x00, 0x00, 0x00, 0x00, 0x00, 0x00, 0x00, 0x00, 0x00, 0x00, 0x00, 0x00, 0x00, 0x00, 0x00, 0x00, 
0x00, 0x00, 0x00, 0x00, 0x00, 0x00, 0x00, 0x00, 0x00, 0x00, 0x00, 0x00, 0x00, 0x00, 0x00, 0x00, 
0x00, 0x00, 0x00, 0x00, 0x00, 0x00, 0x00, 0x00, 0x00, 0x00, 0x00, 0x00, 0x00, 0x00, 0x00, 0x00, 
0x00, 0x00, 0x00, 0x00, 0x00, 0x00, 0x00, 0x00, 0x00, 0x00, 0x00, 0x00, 0x00, 0x00, 0x00, 0x00, 
0x00, 0x00, 0x00, 0x00, 0x00, 0x00, 0x00, 0x00, 0x00, 0x00, 0x00, 0x00, 0x00, 0x00, 0x00, 0x80, 
0xc0, 0xe0, 0xf0, 0xf8, 0xfc, 0xfc, 0xfe, 0xfe, 0xff, 0xff, 0xff, 0x1f, 0x1f, 0x0f, 0x0f, 0x00, 
0x00, 0x0f, 0x0f, 0x1f, 0x1f, 0xff, 0xff, 0xff, 0xfe, 0xfe, 0xfc, 0xfc, 0xf8, 0xf0, 0xe0, 0xc0, 
0x80, 0x00, 0x00, 0x00, 0x00, 0x00, 0x00, 0x00, 0x00, 0x00, 0x00, 0x00, 0x00, 0x00, 0x00, 0x00, 
0x00, 0x00, 0x00, 0x00, 0x00, 0x00, 0x00, 0x00, 0x00, 0x00, 0x00, 0x00, 0x00, 0x00, 0x00, 0x00, 
0x00, 0x00, 0x00, 0x00, 0x00, 0x00, 0x00, 0x00, 0x00, 0x00, 0x00, 0x00, 0x00, 0x00, 0x00, 0x00, 
0x00, 0x00, 0x00, 0x00, 0x00, 0x00, 0x00, 0x00, 0x00, 0x00, 0x00, 0x00, 0x00, 0x00, 0x00, 0x00, 
0x00, 0x00, 0x00, 0x00, 0x00, 0x00, 0x00, 0x00, 0x00, 0x00, 0x00, 0x00, 0x00, 0x00, 0x00, 0x00, 
0x00, 0x00, 0x00, 0x00, 0x00, 0x00, 0x00, 0x00, 0x00, 0x00, 0x00, 0x00, 0xc0, 0xf8, 0xfe, 0xff, 
0xff, 0xff, 0xff, 0xff, 0xff, 0xff, 0xff, 0xff, 0xff, 0xff, 0xff, 0x86, 0x86, 0x86, 0x86, 0x86, 
0x86, 0x86, 0x86, 0x86, 0x86, 0xff, 0xff, 0xff, 0xff, 0xff, 0xff, 0xff, 0xff, 0xff, 0xff, 0xff, 
0xff, 0xfe, 0xf8, 0xc0, 0x00, 0x00, 0x00, 0x00, 0x00, 0x00, 0x00, 0x00, 0x00, 0x00, 0x00, 0x00, 
0x00, 0x00, 0x00, 0x00, 0x00, 0x00, 0x00, 0x00, 0x00, 0x00, 0x00, 0x00, 0x00, 0x00, 0x00, 0x00, 
0x00, 0x00, 0x00, 0x00, 0x00, 0x00, 0x00, 0x00, 0x00, 0x00, 0x00, 0x00, 0x00, 0x00, 0x00, 0x00, 
0x00, 0x00, 0x00, 0x00, 0x00, 0x00, 0x00, 0x00, 0x00, 0x00, 0x00, 0x00, 0x00, 0x00, 0x00, 0x00, 
0x00, 0x00, 0x00, 0x00, 0x00, 0x00, 0x00, 0x00, 0x00, 0x00, 0x00, 0x00, 0x00, 0x00, 0x00, 0x00, 
0x00, 0x00, 0x00, 0x00, 0x00, 0x00, 0x00, 0x00, 0x00, 0x00, 0x00, 0x00, 0xff, 0xff, 0xff, 0xff, 
0xff, 0xff, 0xff, 0xff, 0xff, 0xff, 0xff, 0xff, 0xff, 0xff, 0xff, 0x21, 0x21, 0x21, 0x21, 0x21, 
0x21, 0x21, 0x21, 0x21, 0x21, 0xff, 0xff, 0xff, 0xff, 0xff, 0xff, 0xff, 0xff, 0xff, 0xff, 0xff, 
0xff, 0xff, 0xff, 0xff, 0x00, 0x00, 0x00, 0x00, 0x00, 0x00, 0x00, 0x00, 0x00, 0x00, 0x00, 0x00, 
0x00, 0x00, 0x00, 0x00, 0x00, 0x00, 0x00, 0x00, 0x00, 0x00, 0x00, 0x00, 0x00, 0x00, 0x00, 0x00, 
0x00, 0x00, 0x00, 0x00, 0x00, 0x00, 0x00, 0x00, 0x00, 0x00, 0x00, 0x00, 0x00, 0x00, 0x00, 0x00, 
0x00, 0x00, 0x00, 0x00, 0x00, 0x00, 0x00, 0x00, 0x00, 0x00, 0x00, 0x00, 0x00, 0x00, 0x00, 0x00, 
0x00, 0x00, 0x00, 0x00, 0x00, 0x00, 0x00, 0x00, 0x00, 0x00, 0x00, 0x00, 0x00, 0x00, 0x00, 0x00, 
0x00, 0x00, 0x00, 0x00, 0x00, 0x00, 0x00, 0x00, 0x00, 0x00, 0x00, 0x00, 0x00, 0x07, 0x1f, 0x7f, 
0xff, 0xff, 0xff, 0xff, 0xff, 0xff, 0xff, 0xff, 0xff, 0xff, 0xff, 0x18, 0x18, 0x18, 0x18, 0x18, 
0x18, 0x18, 0x18, 0x18, 0x18, 0xff, 0xff, 0xff, 0xff, 0xff, 0xff, 0xff, 0xff, 0xff, 0xff, 0xff, 
0x7f, 0x1f, 0x07, 0x00, 0x00, 0x00, 0x00, 0x00, 0x00, 0x00, 0x00, 0x00, 0x00, 0x00, 0x00, 0x00, 
0x00, 0x00, 0x00, 0x00, 0x00, 0x00, 0x00, 0x00, 0x00, 0x00, 0x00, 0x00, 0x00, 0x00, 0x00, 0x00, 
0x00, 0x00, 0x00, 0x00, 0x00, 0x00, 0x00, 0x00, 0x00, 0x00, 0x00, 0x00, 0x00, 0x00, 0x00, 0x00, 
0x00, 0x00, 0x00, 0x00, 0x00, 0x00, 0x00, 0x00, 0x00, 0x00, 0x00, 0x00, 0x00, 0x00, 0x00, 0x00, 
0x00, 0x00, 0x00, 0x00, 0x00, 0x00, 0x00, 0x00, 0x00, 0x00, 0x00, 0x00, 0x00, 0x00, 0x00, 0x00, 
0x00, 0x00, 0x00, 0x00, 0x00, 0x00, 0x00, 0x00, 0x00, 0x00, 0x00, 0x00, 0x00, 0x00, 0x00, 0x00, 
0x00, 0x01, 0x03, 0x07, 0x0f, 0x0f, 0x1f, 0x1f, 0x3f, 0x3f, 0x3f, 0x7e, 0x7e, 0x7c, 0x7c, 0x00, 
0x00, 0x7c, 0x7c, 0x7e, 0x7e, 0x3f, 0x3f, 0x3f, 0x1f, 0x1f, 0x0f, 0x0f, 0x07, 0x03, 0x01, 0x00, 
0x00, 0x00, 0x00, 0x00, 0x00, 0x00, 0x00, 0x00, 0x00, 0x00, 0x00, 0x00, 0x00, 0x00, 0x00, 0x00, 
0x00, 0x00, 0x00, 0x00, 0x00, 0x00, 0x00, 0x00, 0x00, 0x00, 0x00, 0x00, 0x00, 0x00, 0x00, 0x00, 
0x00, 0x00, 0x00, 0x00, 0x00, 0x00, 0x00, 0x00, 0x00, 0x00, 0x00, 0x00, 0x00, 0x00, 0x00, 0x00, 
0x00, 0x00, 0x00, 0x00, 0x00, 0x00, 0x00, 0x00, 0x00, 0x00, 0x00, 0x00, 0x10, 0x10, 0xf0, 0x10, 
0x10, 0x00, 0xf0, 0x80, 0x80, 0x80, 0xf0, 0x00, 0xf0, 0x90, 0x90, 0x90, 0x10, 0x00, 0x00, 0x00, 
0xf0, 0x90, 0x90, 0x90, 0x60, 0x00, 0xf0, 0x00, 0x00, 0x00, 0xf0, 0x00, 0xf0, 0x00, 0x00, 0x00, 
0x00, 0x00, 0xf0, 0x00, 0x00, 0x00, 0x00, 0x80, 0x80, 0x80, 0x00, 0xf0, 0x00, 0x00, 0x00, 0xf0, 
0x00, 0xf0, 0x90, 0x90, 0x90, 0x60, 0x00, 0x00, 0x00, 0xf0, 0x90, 0x90, 0x90, 0x60, 0x00, 0xf0, 
0x90, 0x90, 0x10, 0x10, 0x00, 0x60, 0x90, 0x90, 0x90, 0x10, 0x00, 0xf0, 0x00, 0x60, 0x90, 0x90, 
0x90, 0x10, 0x00, 0x10, 0x10, 0xf0, 0x10, 0x10, 0x00, 0xe0, 0x10, 0x10, 0x10, 0xe0, 0x00, 0xf0, 
0x90, 0x90, 0x90, 0x60, 0x00, 0x00, 0x00, 0x00, 0x00, 0x00, 0x00, 0x00, 0x00, 0x00, 0x00, 0x00, 
0x00, 0x00, 0x00, 0x00, 0x00, 0x00, 0x00, 0x00, 0x00, 0x00, 0x00, 0x00, 0x00, 0x00, 0x07, 0x00, 
0x00, 0x00, 0x07, 0x00, 0x00, 0x00, 0x07, 0x00, 0x07, 0x04, 0x04, 0x04, 0x04, 0x00, 0x00, 0x00, 
0x07, 0x00, 0x00, 0x00, 0x00, 0x00, 0x03, 0x04, 0x04, 0x04, 0x03, 0x00, 0x07, 0x04, 0x04, 0x04, 
0x04, 0x00, 0x07, 0x04, 0x04, 0x04, 0x04, 0x00, 0x00, 0x00, 0x00, 0x03, 0x04, 0x04, 0x04, 0x03, 
0x00, 0x07, 0x00, 0x00, 0x00, 0x00, 0x00, 0x00, 0x00, 0x07, 0x00, 0x00, 0x01, 0x06, 0x00, 0x07, 
0x04, 0x04, 0x04, 0x04, 0x00, 0x04, 0x04, 0x04, 0x04, 0x03, 0x00, 0x07, 0x00, 0x04, 0x04, 0x04, 
0x04, 0x03, 0x00, 0x00, 0x00, 0x07, 0x00, 0x00, 0x00, 0x03, 0x04, 0x04, 0x04, 0x03, 0x00, 0x07, 
0x00, 0x00, 0x01, 0x06, 0x00, 0x00, 0x00, 0x00, 0x00, 0x00, 0x00, 0x00, 0x00, 0x00, 0x00, 0x00};
```
